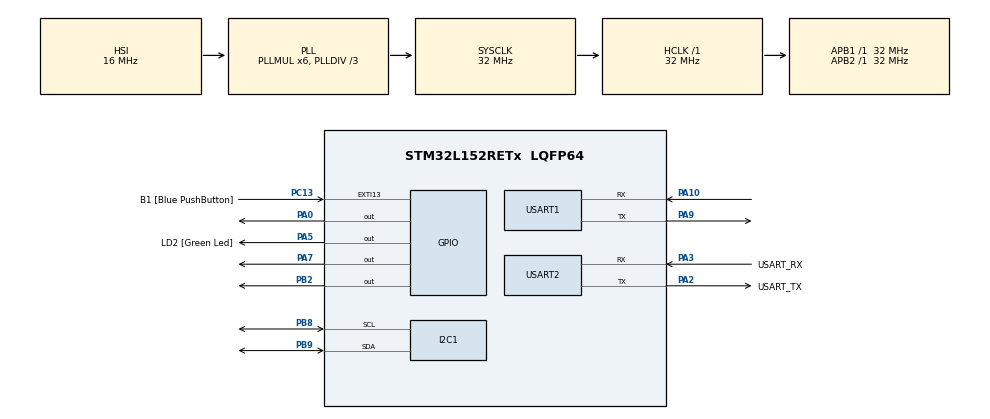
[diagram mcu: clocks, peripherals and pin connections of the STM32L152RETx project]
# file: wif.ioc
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Mcu.Family=STM32L1
Mcu.Name=STM32L152RETx
Mcu.Package=LQFP64
NVIC.PriorityGroup=NVIC_PRIORITYGROUP_0
NVIC.USART1_IRQn=true\:0\:0\:false\:false\:true\:true\:true\:true
NVIC.USART2_IRQn=true\:0\:0\:false\:false\:true\:true\:true\:true
PA0-WKUP1.GPIO_PuPd=GPIO_PULLUP
PA0-WKUP1.Signal=GPIO_Output
PA10.Mode=Asynchronous
PA10.Signal=USART1_RX
PA13.GPIO_Label=TMS
PA13.Mode=Serial_Wire
PA13.Signal=SYS_JTMS-SWDIO
PA14.GPIO_Label=TCK
PA14.Mode=Serial_Wire
PA14.Signal=SYS_JTCK-SWCLK
PA2.GPIO_Label=USART_TX
PA2.Mode=Asynchronous
PA2.Signal=USART2_TX
PA3.GPIO_Label=USART_RX
PA3.Mode=Asynchronous
PA3.Signal=USART2_RX
PA5.GPIO_Label=LD2 [Green Led]
PA5.Signal=GPIO_Output
PA7.GPIO_PuPd=GPIO_PULLUP
PA7.Signal=GPIO_Output
PA9.Mode=Asynchronous
PA9.Signal=USART1_TX
PB2.Signal=GPIO_Output
PB3.GPIO_Label=SWO
PB3.Signal=SYS_JTDO-TRACESWO
PB8.GPIO_Pu=GPIO_PULLUP
PB8.Mode=I2C
PB8.Signal=I2C1_SCL
PB9.GPIO_Pu=GPIO_PULLUP
PB9.Mode=I2C
PB9.Signal=I2C1_SDA
PC13-WKUP2.GPIO_Label=B1 [Blue PushButton]
PC13-WKUP2.Signal=GPXTI13
PC14-OSC32_IN.Mode=LSE-External-Oscillator
PC14-OSC32_IN.Signal=RCC_OSC32_IN
PC15-OSC32_OUT.Mode=LSE-External-Oscillator
PC15-OSC32_OUT.Signal=RCC_OSC32_OUT
PH0-OSC_IN.Mode=HSE-External-Clock-Source
PH0-OSC_IN.Signal=RCC_OSC_IN
PH1-OSC_OUT.Signal=RCC_OSC_OUT
ProjectManager.HeapSize=0x200
ProjectManager.StackSize=0x400
ProjectManager.TargetToolchain=STM32CubeIDE
RCC.48MHZClocksFreq_Value=48000000
RCC.AHBFreq_Value=32000000
RCC.APB1Freq_Value=32000000
RCC.APB1TimFreq_Value=32000000
RCC.APB2Freq_Value=32000000
RCC.APB2TimFreq_Value=32000000
RCC.HCLKFreq_Value=32000000
RCC.HSE_VALUE=8000000
RCC.HSI_VALUE=16000000
RCC.MSI_VALUE=2097000
RCC.PLLDIV=RCC_PLL_DIV3
RCC.PLLMUL=RCC_PLL_MUL6
RCC.RTCClockSelectionVirtual=RCC_RTCCLKSOURCE_LSE
RCC.SYSCLKFreq_VALUE=32000000
RCC.SYSCLKSource=RCC_SYSCLKSOURCE_PLLCLK
RCC.USBOutput=48000000
RCC.VCOOutputFreq_Value=96000000
USART1.VirtualMode=VM_ASYNC
USART2.VirtualMode=VM_ASYNC
VP_TIM2_VS_ClockSourceINT.Mode=Internal
board=NUCLEO-L152RE

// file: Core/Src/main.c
/* USER CODE BEGIN Header */
/**
  ******************************************************************************
  * @file           : main.c
  * @brief          : Main program body
  ******************************************************************************
  * @attention
  *
  * Copyright (c) 2023 STMicroelectronics.
  * All rights reserved.
  *
  * This software is licensed under terms that can be found in the LICENSE file
  * in the root directory of this software component.
  * If no LICENSE file comes with this software, it is provided AS-IS.
  *
  ******************************************************************************
  */
/* USER CODE END Header */
#include "main.h"
#include "i2c.h"
#include "tim.h"
#include "usart.h"
#include "gpio.h"

/* USER CODE BEGIN Includes */
#include "DHT22.h"
#include "lib_lcd.h"
#include <stdio.h>
#include <string.h>

/* USER CODE END Includes */

/* USER CODE BEGIN PV */
//UART_HandleTypeDef huart1;
//UART_HandleTypeDef huart2;

/* USER CODE END PV */

void SystemClock_Config(void);

int main(void)
{
  /* USER CODE BEGIN 1 */
	float Humidite = 0.0,Temperature = 0.0;
	rgb_lcd DataStruct;
	uint8_t dataH1;
	uint8_t dataH2;
	uint8_t dataT1;
	uint8_t dataT2;
	uint8_t check_sum;
	uint8_t sum;
	char buffH[32];
	char buffT[32];
	 /* USER CODE END 1 */

  /* MCU Configuration--------------------------------------------------------*/

  /* Reset of all peripherals, Initializes the Flash interface and the Systick. */
  HAL_Init();

  /* Configure the system clock */
  SystemClock_Config();

  /* Initialize all configured peripherals */
  MX_GPIO_Init();
  MX_USART2_UART_Init();
  MX_I2C1_Init();
  MX_TIM2_Init();
  MX_USART1_UART_Init();
  /* USER CODE BEGIN 2 */
  lcd_init(&hi2c1, &DataStruct);
  HAL_TIM_Base_Start(&htim2);
  DWT_Delay_Init();
  /* USER CODE END 2 */

  /* Infinite loop */
  while (1)
  {

    /* USER CODE BEGIN 3 */
                 HAL_Delay(3000);
                 DHT22_Start(); //demarrer le DHT22,dans le fichier DHT22.c
   	           	 Data_Input(DHT_PORT, DHT_PIN);
   	             commence_la_reception_de_donnees();
   	             obtenir_donnees(&dataH1,&dataH2,&dataT1,&dataT2,&sum);
                 check_sum = (uint8_t)(dataH1 + dataH2 + dataT1 + dataT2);
                 if(check_sum == sum){
                 Humidite = (float)((256 * dataH1 + dataH2) / 10.0);//转换为湿度数据,除以10是因为传感器出来的值是实际的10倍
	         	 Temperature = (float)((256 * dataT1 + dataT2) / 10.0);//转换为温度数据
                 }
                 else{
                 lcd_print(&hi2c1,"SUM != CHECK");
                 }
                 affichage(Humidite,Temperature,buffH,buffT);
                 HAL_GPIO_WritePin(GPIOA, GPIO_PIN_1, GPIO_PIN_SET);

 	             char * msg=buffT;
                 char * a ="\n\r";
 	             HAL_UART_Transmit (&huart2, (uint8_t *)msg, strlen (msg), 0xFFFF);
 	             HAL_UART_Transmit (&huart2, (uint8_t *)a, strlen (a), 0xFFFF);
  }
  /* USER CODE END 3 */
}

void SystemClock_Config(void)
{
  RCC_OscInitTypeDef RCC_OscInitStruct = {0};
  RCC_ClkInitTypeDef RCC_ClkInitStruct = {0};

  /** Configure the main internal regulator output voltage
  */
  __HAL_PWR_VOLTAGESCALING_CONFIG(PWR_REGULATOR_VOLTAGE_SCALE1);

  /** Initializes the RCC Oscillators according to the specified parameters
  * in the RCC_OscInitTypeDef structure.
  */
  RCC_OscInitStruct.OscillatorType = RCC_OSCILLATORTYPE_HSI;
  RCC_OscInitStruct.HSIState = RCC_HSI_ON;
  RCC_OscInitStruct.HSICalibrationValue = RCC_HSICALIBRATION_DEFAULT;
  RCC_OscInitStruct.PLL.PLLState = RCC_PLL_ON;
  RCC_OscInitStruct.PLL.PLLSource = RCC_PLLSOURCE_HSI;
  RCC_OscInitStruct.PLL.PLLMUL = RCC_PLL_MUL6;
  RCC_OscInitStruct.PLL.PLLDIV = RCC_PLL_DIV3;
  if (HAL_RCC_OscConfig(&RCC_OscInitStruct) != HAL_OK)
  {
    Error_Handler();
  }

  /** Initializes the CPU, AHB and APB buses clocks
  */
  RCC_ClkInitStruct.ClockType = RCC_CLOCKTYPE_HCLK|RCC_CLOCKTYPE_SYSCLK
                              |RCC_CLOCKTYPE_PCLK1|RCC_CLOCKTYPE_PCLK2;
  RCC_ClkInitStruct.SYSCLKSource = RCC_SYSCLKSOURCE_PLLCLK;
  RCC_ClkInitStruct.AHBCLKDivider = RCC_SYSCLK_DIV1;
  RCC_ClkInitStruct.APB1CLKDivider = RCC_HCLK_DIV1;
  RCC_ClkInitStruct.APB2CLKDivider = RCC_HCLK_DIV1;

  if (HAL_RCC_ClockConfig(&RCC_ClkInitStruct, FLASH_LATENCY_1) != HAL_OK)
  {
    Error_Handler();
  }
}

void Error_Handler(void)
{
  __disable_irq();
  while (1)
  {
  }
}
